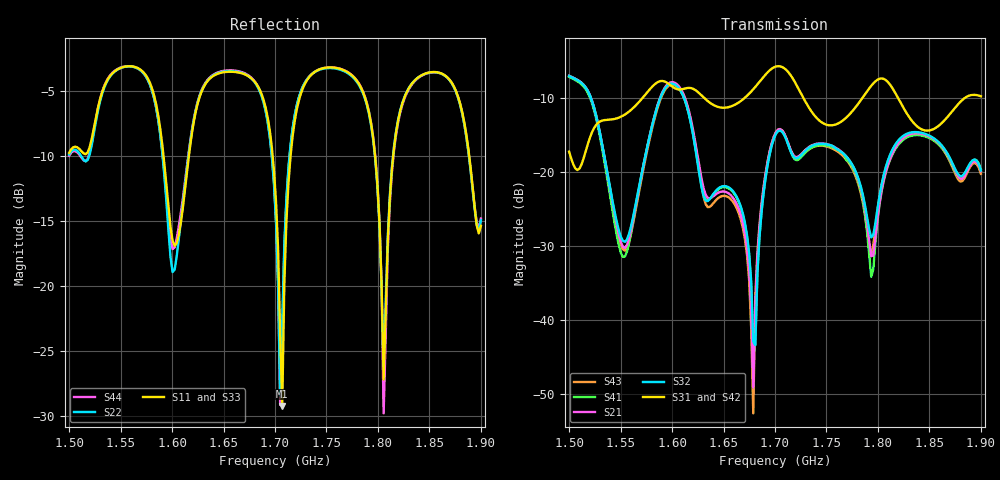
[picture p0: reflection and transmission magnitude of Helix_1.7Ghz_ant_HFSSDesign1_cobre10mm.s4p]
! Touchstone file exported from HFSS 2022.1.0
!  File:  C:/Users/Luis/Documents/Ansoft/Helix_1.7Ghz_ant.aedt
!  Generated:  11:52:03  jun. 24, 2025
!  Design:  HFSSDesign1
!  Project:  Helix_1.7Ghz_ant
!  Setup:  Setup1
!  Solution:  Sweep
! Variables:
!  N_turns = 6
!  Pitch_per_turn = 82.5mm
!  Thickness = 75um
!  Tube_depth = 5mm
!  gnd_plane_x = 300mm
!  gnd_plane_y = 300mm
!  ini_h = 3mm
!  rad = 25mm
!  w = 10mm
# GHz S MA R 50.000000
! Terminal data exported
! Port[1] = 1
! Port[2] = 2
! Port[3] = 3
! Port[4] = 4
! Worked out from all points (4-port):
!   200 points, 1.5 GHz to 1.9 GHz, reference 50 ohm
!   strongest paths, dB at 1.5 GHz, 1.601 GHz, 1.701 GHz, 1.802 GHz, 1.9 GHz:
!     S31: -17.3, -8.5, -5.8, -7.5, -9.8
!     S42: -18.6, -8.5, -5.8, -7.5, -9.7
!     S32: -7.1, -8.1, -14.9, -23.3, -19.8
!     S21: -7.0, -7.9, -14.7, -24.2, -19.9
!     S41: -7.2, -8.1, -14.8, -24.5, -19.6
!     S43: -7.1, -8.2, -14.6, -23.3, -20.3
!   lowest |S11| = -29.2 dB at 1.707 GHz (marker M1), VSWR 1.07, Z = 48.4 + j2.99 ohm
!   |S11| at or under -10 dB: 1.592 GHz to 1.616 GHz (24.58 MHz wide, 1.53 % of centre); 1.698 GHz to 1.715 GHz (17.32 MHz wide, 1.01 % of centre); 1.797 GHz to 1.815 GHz (17.51 MHz wide, 0.97 % of centre)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
1.5  0.3262 -14.1  0.4443 -94.3  0.1365 123.3  0.436 -93.8
     0.4443 -94.3  0.3214 -16.7  0.4424 -93.7  0.1174 129.3
     0.1365 123.3  0.4424 -93.7  0.3189 -14.4  0.4405 -95.0
     0.436 -93.8  0.1174 129.3  0.4405 -95.0  0.3178 -16.4
1.608543  0.1758 1.9  0.3612 -115.3  0.359 137.9  0.3525 -114.9
          0.3612 -115.3  0.1772 11.2  0.3491 -113.8  0.354 135.5
          0.359 137.9  0.3491 -113.8  0.1669 1.3  0.3474 -115.9
          0.3525 -114.9  0.354 135.5  0.3474 -115.9  0.1916 5.2
1.678894  0.6215 -51.7  0.003506 121.4  0.3601 -91.4  0.00569 -159.2
          0.003506 121.4  0.6193 -52.4  0.007141 -176.1  0.3564 -93.5
          0.3601 -91.4  0.007141 -176.1  0.6196 -51.0  0.002347 11.0
          0.00569 -159.2  0.3564 -93.5  0.002347 11.0  0.624 -53.0
1.707035  0.03465 117.1  0.1896 -74.4  0.508 159.5  0.1867 -76.4
          0.1896 -74.4  0.07151 87.3  0.1856 -74.2  0.5004 153.7
          0.508 159.5  0.1856 -74.2  0.02689 109.6  0.1898 -75.4
          0.1867 -76.4  0.5004 153.7  0.1898 -75.4  0.06432 83.6
1.735176  0.6509 -3.6  0.15 -92.5  0.2566 44.4  0.1447 -91.9
          0.15 -92.5  0.6518 -4.4  0.1486 -91.9  0.2517 40.4
          0.2566 44.4  0.1486 -91.9  0.6466 -3.7  0.1449 -92.8
          0.1447 -91.9  0.2517 40.4  0.1449 -92.8  0.6536 -5.0
1.805528  0.04381 168.2  0.08751 -18.3  0.4232 155.6  0.08602 -23.4
          0.08751 -18.3  0.04919 161.1  0.09453 -10.3  0.4229 156.0
          0.4232 155.6  0.09453 -10.3  0.02318 161.6  0.0943 -17.6
          0.08602 -23.4  0.4229 156.0  0.0943 -17.6  0.03246 -170.9
1.9  0.1709 -16.3  0.1007 -173.0  0.3229 137.7  0.1042 -171.2
     0.1007 -173.0  0.1796 -12.9  0.1019 -170.4  0.329 136.6
     0.3229 137.7  0.1019 -170.4  0.1785 -15.7  0.09689 -171.8
     0.1042 -171.2  0.329 136.6  0.09689 -171.8  0.1821 -15.5
